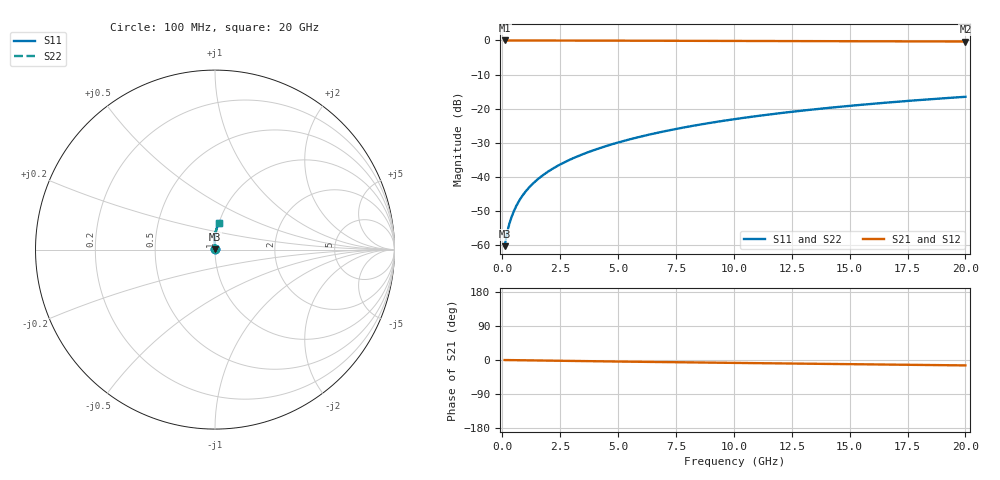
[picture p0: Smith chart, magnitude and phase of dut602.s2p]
! Touchstone file exported from HFSS 2024.1.0
!  File:  C:/UserFiles/LocalFiles/RDL_TSV_Batchsim/temp_RDL_bottom_602_1779783227.aedt
!  Generated:  04:16:04 PM May 26, 2026
!  Design:  RDL_bottom
!  Project:  temp_RDL_bottom_602_1779783227
!  Setup:  Setup1
!  Solution:  Sweep
! Variables:
!  dtsv = 10.80580581um
!  hbump = 3um
!  htsv = 83.26um
!  ldown = 174.83um
!  lrdl = 100um
!  p = 40
!  p1 = 54.89um
!  rhole = 1um
!  t = 450um
!  tdown = 4.46um
!  trdl = 3.915915916um
!  wdown = 27.03um
!  wrdl = 20um
# GHz S MA R 50.000000
! Terminal data exported
! Port[1] = RDL1_T1
! Port[2] = RDL1_T2
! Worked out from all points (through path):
!   200 points, 100 MHz to 20 GHz, reference 50 ohm
!   highest |S21| = -0.01 dB at 100 MHz (marker M1); lowest = -0.3 dB at 20 GHz (marker M2)
!   group delay of S21, straight-line fit = 1.95 ps
!   lowest |S11| = -60.3 dB at 100 MHz (marker M3), VSWR 1.00, Z = 50.1 + j0.0664 ohm
!   |S11| at or under -10 dB: start of sweep to end of sweep
!   |S22| runs from -60.3 to -16.5 dB; largest |S21 - S12| = 5.3e-15
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0.1  0.0009686 43.2  0.9993 -0.1  0.9993 -0.1  0.0009686 43.2
! Gamma 0 0 0 0
! Port Impedance 50 0 50 0
0.2  0.001488 59.7  0.9992 -0.2  0.9992 -0.2  0.001488 59.7
0.3  0.002035 67.4  0.9992 -0.3  0.9992 -0.3  0.002035 67.4
0.4  0.002593 72.2  0.9991 -0.3  0.9991 -0.3  0.002593 72.2
0.5  0.003159 75.4  0.9991 -0.4  0.9991 -0.4  0.003159 75.4
0.6  0.003733 77.8  0.999 -0.5  0.999 -0.5  0.003733 77.8
0.8  0.004896 81.0  0.9989 -0.7  0.9989 -0.7  0.004896 81.0
1.1  0.006669 83.9  0.9987 -0.9  0.9987 -0.9  0.006669 83.9
1.5  0.009069 86.3  0.9984 -1.3  0.9984 -1.3  0.009069 86.3
1.8  0.01089 87.5  0.9981 -1.5  0.9981 -1.5  0.01089 87.5
2.1  0.01274 88.5  0.9977 -1.8  0.9977 -1.8  0.01274 88.5
2.7  0.01651 89.9  0.9969 -2.3  0.9969 -2.3  0.01651 89.9
3.5  0.0217 91.1  0.9955 -2.9  0.9955 -2.9  0.0217 91.1
4.2  0.0264 91.8  0.9942 -3.5  0.9942 -3.5  0.0264 91.8
5  0.03197 92.3  0.9925 -4.1  0.9925 -4.1  0.03197 92.3
6.8  0.04515 92.4  0.9887 -5.4  0.9887 -5.4  0.04515 92.4
8.4  0.05745 91.8  0.9853 -6.5  0.9853 -6.5  0.05745 91.8
10.1  0.07086 90.7  0.9819 -7.7  0.9819 -7.7  0.07087 90.7
11.7  0.08365 89.4  0.9788 -8.8  0.9788 -8.8  0.08365 89.4
13.4  0.09727 88.0  0.9757 -9.9  0.9757 -9.9  0.09728 88.0
16.7  0.1236 85.1  0.97 -12.1  0.97 -12.1  0.1236 85.1
20  0.1494 82.2  0.9642 -14.3  0.9642 -14.3  0.1494 82.2
